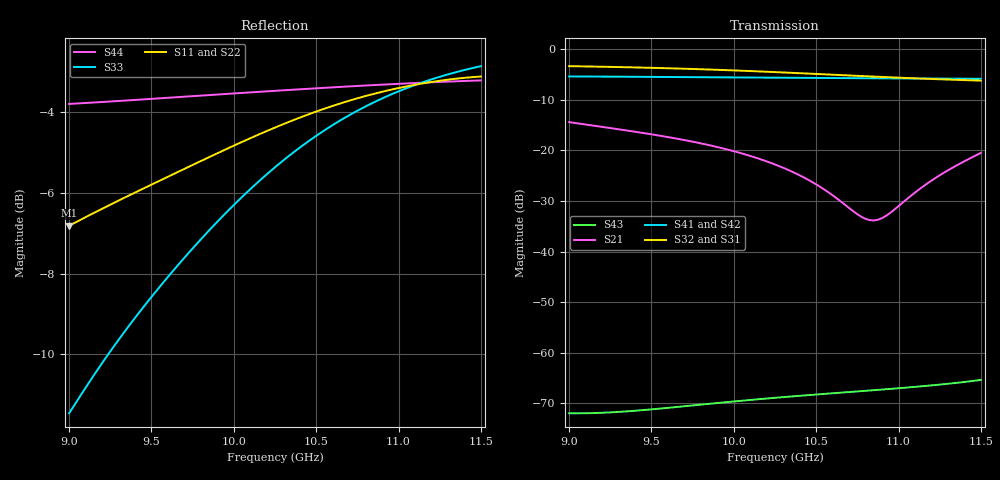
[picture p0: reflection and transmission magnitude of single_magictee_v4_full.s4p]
! Generated from PyAEDT SolutionData; AEDT ExportNetworkData workaround
# GHz S MA R 50
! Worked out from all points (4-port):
!   101 points, 9 GHz to 11.5 GHz, reference 50 ohm
!   strongest paths, dB at 9 GHz, 9.625 GHz, 10.25 GHz, 10.88 GHz, 11.5 GHz:
!     S32: -3.3, -3.8, -4.5, -5.4, -6.2
!     S31: -3.3, -3.8, -4.5, -5.4, -6.2
!     S41: -5.4, -5.5, -5.6, -5.7, -5.8
!     S42: -5.4, -5.5, -5.6, -5.7, -5.8
!     S21: -14.4, -17.5, -22.8, -33.7, -20.5
!     S43: -72.0, -70.8, -68.9, -67.3, -65.4
!   lowest |S11| = -6.8 dB at 9 GHz (marker M1), VSWR 2.68, Z = 72.6 + j57.5 ohm
!   |S11| at or under -10 dB: nowhere
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9  0.4564 43.4  0.1907 -131.6  0.6813 -74.1  0.5396 37.1
   0.1907 -131.6  0.4564 43.4  0.6816 -74.1  0.5392 -142.9
   0.6813 -74.1  0.6816 -74.1  0.267 -8.0  0.0002521 -133.8
   0.5396 37.1  0.5392 -142.9  0.0002521 -133.8  0.6466 -150.7
9.525  0.5163 -16.9  0.1422 152.1  0.6546 -173.2  0.5337 -20.0
       0.1422 152.1  0.5165 -16.8  0.6548 -173.2  0.5331 160.0
       0.6546 -173.2  0.6548 -173.2  0.3778 -153.7  0.0002778 151.1
       0.5337 -20.0  0.5331 160.0  0.0002778 151.1  0.6565 159.3
10.025  0.577 -74.3  0.09583 83.3  0.6163 97.2  0.5274 -72.1
        0.09583 83.3  0.5774 -74.2  0.6165 97.2  0.5266 107.9
        0.6163 97.2  0.6165 97.2  0.49 84.5  0.0003326 74.6
        0.5274 -72.1  0.5266 107.9  0.0003326 74.6  0.6668 113.1
10.45  0.6272 -123.6  0.05146 33.4  0.5756 24.3  0.5221 -115.3
       0.05146 33.4  0.6278 -123.5  0.5759 24.3  0.5211 64.7
       0.5756 24.3  0.5759 24.3  0.5805 -9.8  0.0003807 7.7
       0.5221 -115.3  0.5211 64.7  0.0003807 7.7  0.6752 74.6
10.85  0.6655 -170.4  0.02032 45.6  0.5375 -42.0  0.5175 -155.3
       0.02032 45.6  0.6662 -170.3  0.5378 -41.9  0.5163 24.7
       0.5375 -42.0  0.5378 -41.9  0.6495 -92.5  0.0004264 -54.8
       0.5175 -155.3  0.5163 24.7  0.0004264 -54.8  0.6824 38.8
11.2  0.6885 148.2  0.05034 61.5  0.5093 -98.8  0.5139 170.0
      0.05034 61.5  0.6893 148.3  0.5095 -98.8  0.5126 -10.0
      0.5093 -98.8  0.5095 -98.8  0.6936 -161.6  0.0004755 -108.6
      0.5139 170.0  0.5126 -10.0  0.0004755 -108.6  0.6878 7.6
11.5  0.6992 111.7  0.09464 30.6  0.4904 -147.7  0.5115 140.2
      0.09464 30.6  0.7002 111.9  0.4906 -147.6  0.51 -39.7
      0.4904 -147.7  0.4906 -147.6  0.7203 140.4  0.000539 -154.3
      0.5115 140.2  0.51 -39.7  0.000539 -154.3  0.6915 -19.1
